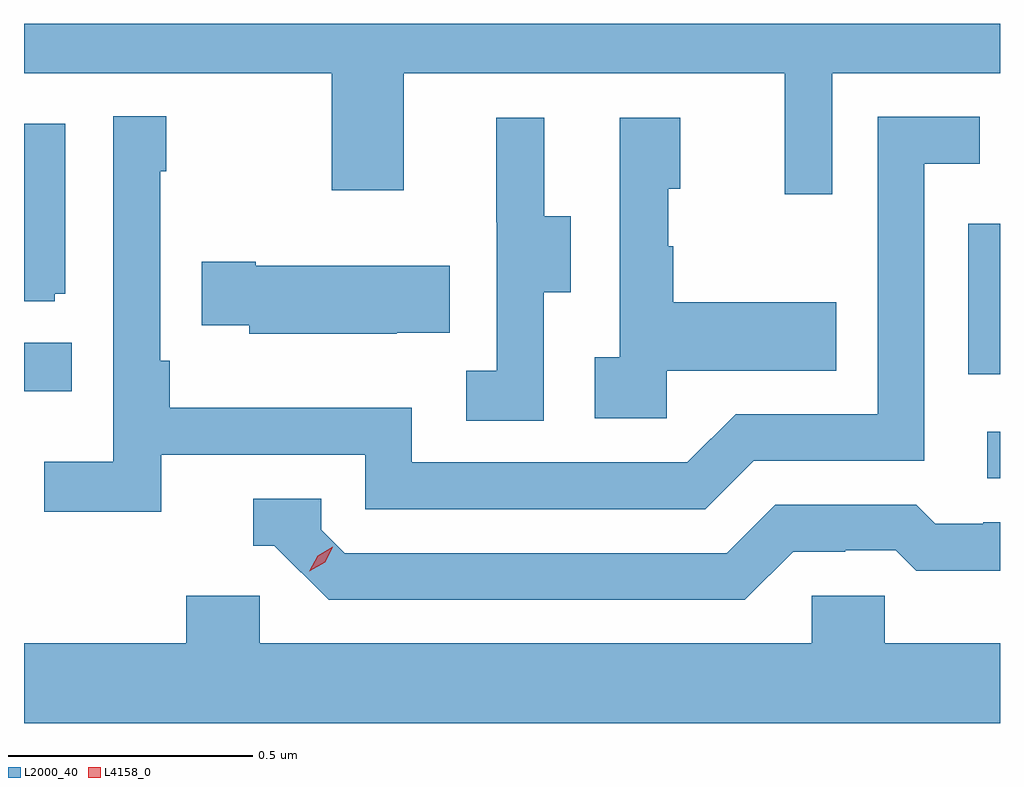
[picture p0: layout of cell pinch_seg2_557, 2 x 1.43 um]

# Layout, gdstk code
import gdstk
lib = gdstk.Library(unit=1e-6, precision=1e-09)
def R(c, l, rs):  # rectangles x0, y0, x1, y1
    for r in rs: c.add(gdstk.rectangle(r[:2], r[2:], *l))
def P(c, l, *ps):  # polygons
    for p in ps: c.add(gdstk.Polygon(p, *l))
L2000_40 = (2000, 40)
L4158_0 = (4158, 0)

pinch_seg2_557 = lib.new_cell('pinch_seg2_557')
R(pinch_seg2_557, L2000_40, [(1132.647,621.498,1132.673,621.594), (1130.673,621.677,1130.771,621.776), (1132.608,621.711,1132.673,622.02)])
P(pinch_seg2_557, L2000_40, [(1132.329,622.328),(1132.673,622.328),(1132.673,622.43),(1130.673,622.43),(1130.673,622.328),(1131.304,622.328),(1131.304,622.089),(1131.451,622.089),(1131.451,622.328),(1132.232,622.328),(1132.232,622.08),(1132.329,622.08)],
  [(1130.954,621.546),(1131.372,621.546),(1131.372,621.435),(1132.069,621.435),(1132.168,621.534),(1132.518,621.534),(1132.518,622.143),(1132.631,622.143),(1132.631,622.239),(1132.422,622.239),(1132.422,621.63),(1132.131,621.63),(1132.032,621.531),(1131.468,621.531),(1131.468,621.643),(1130.972,621.643),(1130.972,621.739),(1130.952,621.739),(1130.952,622.127),(1130.965,622.127),(1130.965,622.24),(1130.856,622.24),(1130.856,621.532),(1130.715,621.532),(1130.715,621.43),(1130.954,621.43)],
  [(1131.99,621.719),(1132.337,621.719),(1132.337,621.859),(1132.003,621.859),(1132.003,621.974),(1131.993,621.974),(1131.993,622.092),(1132.018,622.092),(1132.018,622.237),(1131.894,622.237),(1131.894,621.746),(1131.843,621.746),(1131.843,621.621),(1131.99,621.621)],
  [(1131.738,621.88),(1131.793,621.88),(1131.793,622.035),(1131.739,622.035),(1131.739,622.237),(1131.641,622.237),(1131.641,622.023),(1131.642,622.023),(1131.642,621.719),(1131.579,621.719),(1131.579,621.616),(1131.738,621.616)],
  [(1130.736,621.876),(1130.758,621.876),(1130.758,622.225),(1130.673,622.225),(1130.673,621.861),(1130.736,621.861)],
  [(1131.437,621.797),(1131.545,621.797),(1131.545,621.934),(1131.148,621.934),(1131.148,621.942),(1131.037,621.942),(1131.037,621.812),(1131.135,621.812),(1131.135,621.794),(1131.437,621.794)],
  [(1132.249,621.348),(1132.356,621.348),(1132.356,621.351),(1132.459,621.351),(1132.501,621.309),(1132.673,621.309),(1132.673,621.408),(1132.639,621.408),(1132.639,621.405),(1132.54,621.405),(1132.501,621.444),(1132.212,621.444),(1132.113,621.345),(1131.33,621.345),(1131.282,621.393),(1131.282,621.456),(1131.143,621.456),(1131.143,621.36),(1131.186,621.36),(1131.297,621.249),(1132.15,621.249)],
  [(1132.673,621.16),(1132.437,621.16),(1132.437,621.258),(1132.287,621.258),(1132.287,621.16),(1131.156,621.16),(1131.156,621.258),(1131.005,621.258),(1131.005,621.16),(1130.673,621.16),(1130.673,620.996),(1132.673,620.996)])
P(pinch_seg2_557, L4158_0, [(1131.258,621.308),(1131.258,621.308),(1131.275,621.34),(1131.306,621.358),(1131.306,621.358),(1131.306,621.358),(1131.29,621.326),(1131.258,621.308)])

lib.write_gds('pinch_seg2_557.gds')
